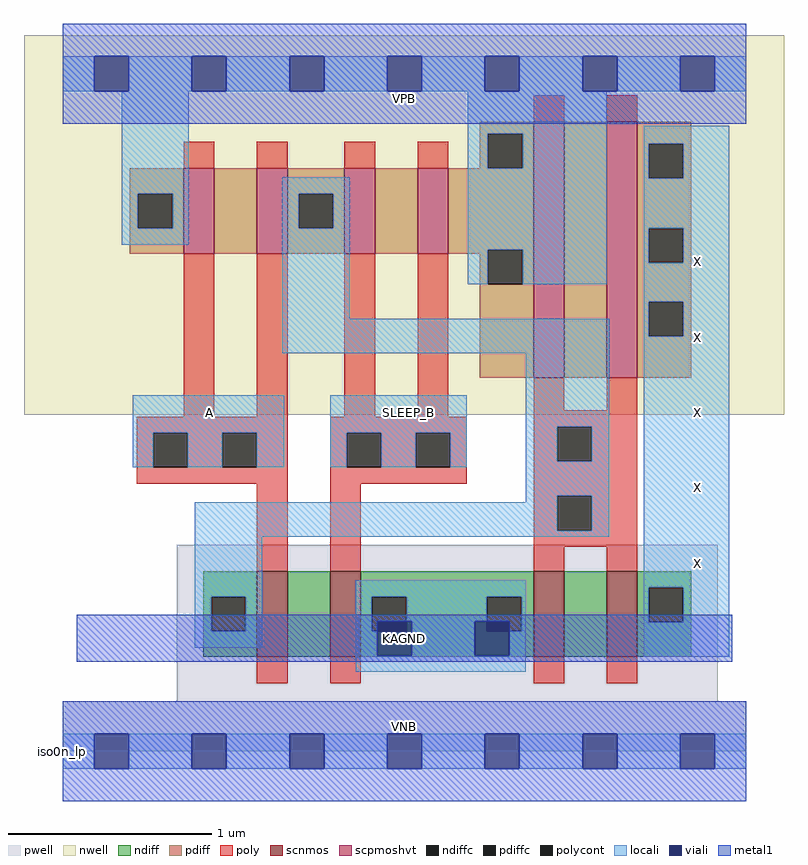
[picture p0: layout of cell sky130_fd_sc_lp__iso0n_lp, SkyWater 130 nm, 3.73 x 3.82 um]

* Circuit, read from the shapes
.subckt sky130_fd_sc_lp__iso0n_lp A KAGND SLEEP_B VGND VNB VPB VPWR X
XM1 n1 A n2 VNB sky130_fd_pr__nfet_01v8 w=0.42 l=0.15
XM2 KAGND SLEEP_B n1 VNB sky130_fd_pr__nfet_01v8 w=0.42 l=0.15
XM3 n3 n2 KAGND VNB sky130_fd_pr__nfet_01v8 w=0.42 l=0.15
XM4 X n2 n3 VNB sky130_fd_pr__nfet_01v8 w=0.42 l=0.15
XM5 n4 A VPWR VPB sky130_fd_pr__pfet_01v8_hvt w=0.42 l=0.15
XM6 n2 A n4 VPB sky130_fd_pr__pfet_01v8_hvt w=0.42 l=0.15
XM7 n5 SLEEP_B n2 VPB sky130_fd_pr__pfet_01v8_hvt w=0.42 l=0.15
XM8 VPWR SLEEP_B n5 VPB sky130_fd_pr__pfet_01v8_hvt w=0.42 l=0.15
XM9 n6 n2 VPWR VPB sky130_fd_pr__pfet_01v8_hvt w=1.26 l=0.15
XM10 X n2 n6 VPB sky130_fd_pr__pfet_01v8_hvt w=1.26 l=0.15
.ends

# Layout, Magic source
magic
tech sky130A
magscale 1 2
<< nwell >>
rect -38 331 709 704
<< pwell >>
rect 112 49 644 203
rect 0 0 672 49
<< scnmos >>
rect 191 93 221 177
rect 263 93 293 177
rect 463 93 493 177
rect 535 93 565 177
<< scpmoshvt >>
rect 119 489 149 573
rect 191 489 221 573
rect 277 489 307 573
rect 349 489 379 573
rect 463 367 493 619
rect 535 367 565 619
<< ndiff >>
rect 138 152 191 177
rect 138 118 146 152
rect 180 118 191 152
rect 138 93 191 118
rect 221 93 263 177
rect 293 152 463 177
rect 293 118 304 152
rect 338 118 417 152
rect 451 118 463 152
rect 293 93 463 118
rect 493 93 535 177
rect 565 161 618 177
rect 565 127 576 161
rect 610 127 618 161
rect 565 93 618 127
<< pdiff >>
rect 410 607 463 619
rect 410 573 418 607
rect 452 573 463 607
rect 66 548 119 573
rect 66 514 74 548
rect 108 514 119 548
rect 66 489 119 514
rect 149 489 191 573
rect 221 548 277 573
rect 221 514 232 548
rect 266 514 277 548
rect 221 489 277 514
rect 307 489 349 573
rect 379 493 463 573
rect 379 489 418 493
rect 410 459 418 489
rect 452 459 463 493
rect 410 367 463 459
rect 493 367 535 619
rect 565 597 618 619
rect 565 563 576 597
rect 610 563 618 597
rect 565 514 618 563
rect 565 480 576 514
rect 610 480 618 514
rect 565 442 618 480
rect 565 408 576 442
rect 610 408 618 442
rect 565 367 618 408
<< ndiffc >>
rect 146 118 180 152
rect 304 118 338 152
rect 417 118 451 152
rect 576 127 610 161
<< pdiffc >>
rect 418 573 452 607
rect 74 514 108 548
rect 232 514 266 548
rect 418 459 452 493
rect 576 563 610 597
rect 576 480 610 514
rect 576 408 610 442
<< poly >>
rect 463 619 493 645
rect 535 619 565 645
rect 119 573 149 599
rect 191 573 221 599
rect 277 573 307 599
rect 349 573 379 599
rect 119 329 149 489
rect 191 329 221 489
rect 277 329 307 489
rect 349 329 379 489
rect 463 335 493 367
rect 535 335 565 367
rect 73 313 221 329
rect 73 279 89 313
rect 123 279 157 313
rect 191 279 221 313
rect 73 263 221 279
rect 191 177 221 263
rect 263 313 397 329
rect 263 279 279 313
rect 313 279 347 313
rect 381 279 397 313
rect 263 263 397 279
rect 463 319 565 335
rect 463 285 486 319
rect 520 285 565 319
rect 263 177 293 263
rect 463 251 565 285
rect 463 217 486 251
rect 520 217 565 251
rect 463 201 565 217
rect 463 177 493 201
rect 535 177 565 201
rect 191 67 221 93
rect 263 67 293 93
rect 463 67 493 93
rect 535 67 565 93
<< polycont >>
rect 89 279 123 313
rect 157 279 191 313
rect 279 279 313 313
rect 347 279 381 313
rect 486 285 520 319
rect 486 217 520 251
<< locali >>
rect 0 649 31 683
rect 65 649 127 683
rect 161 649 223 683
rect 257 649 319 683
rect 353 649 415 683
rect 449 649 511 683
rect 545 649 607 683
rect 641 649 672 683
rect 58 548 124 649
rect 398 607 535 649
rect 398 573 418 607
rect 452 573 535 607
rect 58 514 74 548
rect 108 514 124 548
rect 58 498 124 514
rect 216 548 282 564
rect 216 514 232 548
rect 266 514 282 548
rect 216 425 282 514
rect 398 493 535 573
rect 398 459 418 493
rect 452 459 535 493
rect 571 597 655 615
rect 571 563 576 597
rect 610 563 655 597
rect 571 514 655 563
rect 571 480 576 514
rect 610 480 655 514
rect 571 442 655 480
rect 216 391 537 425
rect 69 313 218 350
rect 69 279 89 313
rect 123 279 157 313
rect 191 279 218 313
rect 263 313 397 350
rect 263 279 279 313
rect 313 279 347 313
rect 381 279 397 313
rect 455 319 537 391
rect 455 285 486 319
rect 520 285 537 319
rect 455 251 537 285
rect 455 245 486 251
rect 130 217 486 245
rect 520 217 537 251
rect 130 211 537 217
rect 571 408 576 442
rect 610 408 655 442
rect 130 152 196 211
rect 130 118 146 152
rect 180 118 196 152
rect 130 102 196 118
rect 288 152 455 168
rect 288 118 304 152
rect 338 128 417 152
rect 288 94 309 118
rect 343 94 405 128
rect 451 118 455 152
rect 439 94 455 118
rect 288 78 455 94
rect 571 161 655 408
rect 571 127 576 161
rect 610 127 655 161
rect 571 93 655 127
rect 0 -17 31 17
rect 65 -17 127 17
rect 161 -17 223 17
rect 257 -17 319 17
rect 353 -17 415 17
rect 449 -17 511 17
rect 545 -17 607 17
rect 641 -17 672 17
<< viali >>
rect 31 649 65 683
rect 127 649 161 683
rect 223 649 257 683
rect 319 649 353 683
rect 415 649 449 683
rect 511 649 545 683
rect 607 649 641 683
rect 309 118 338 128
rect 338 118 343 128
rect 309 94 343 118
rect 405 118 417 128
rect 417 118 439 128
rect 405 94 439 118
rect 31 -17 65 17
rect 127 -17 161 17
rect 223 -17 257 17
rect 319 -17 353 17
rect 415 -17 449 17
rect 511 -17 545 17
rect 607 -17 641 17
<< metal1 >>
rect 0 683 672 715
rect 0 649 31 683
rect 65 649 127 683
rect 161 649 223 683
rect 257 649 319 683
rect 353 649 415 683
rect 449 649 511 683
rect 545 649 607 683
rect 641 649 672 683
rect 0 617 672 649
rect 14 128 658 134
rect 14 94 309 128
rect 343 94 405 128
rect 439 94 658 128
rect 14 88 658 94
rect 0 17 672 49
rect 0 -17 31 17
rect 65 -17 127 17
rect 161 -17 223 17
rect 257 -17 319 17
rect 353 -17 415 17
rect 449 -17 511 17
rect 545 -17 607 17
rect 641 -17 672 17
rect 0 -49 672 -17
<< labels >>
flabel locali s 607 168 641 202 0 FreeSans 200 0 0 0 X
port 8 nsew signal output
flabel locali s 607 464 641 498 0 FreeSans 200 0 0 0 X
port 8 nsew signal output
flabel locali s 607 390 641 424 0 FreeSans 200 0 0 0 X
port 8 nsew signal output
flabel locali s 607 242 641 276 0 FreeSans 200 0 0 0 X
port 8 nsew signal output
flabel locali s 323 316 357 350 0 FreeSans 200 0 0 0 SLEEP_B
port 3 nsew signal input
flabel locali s 607 316 641 350 0 FreeSans 200 0 0 0 X
port 8 nsew signal output
flabel locali s 127 316 161 350 0 FreeSans 200 0 0 0 A
port 1 nsew signal input
flabel pwell s 0 0 672 49 0 FreeSans 200 0 0 0 VNB
port 5 nsew ground bidirectional
flabel nwell s 0 617 672 666 0 FreeSans 200 0 0 0 VPB
port 6 nsew power bidirectional
rlabel comment s 0 0 0 0 4 iso0n_lp
flabel metal1 s 0 617 672 666 0 FreeSans 200 0 0 0 VPWR
port 7 nsew power bidirectional
flabel metal1 s 0 0 672 49 0 FreeSans 200 0 0 0 VGND
port 4 nsew ground bidirectional
flabel metal1 s 14 88 658 134 0 FreeSans 340 0 0 0 KAGND
port 2 nsew ground input
<< properties >>
string LEFsite unit
string LEFclass CORE
string FIXED_BBOX 0 0 672 666
string GDS_FILE $PDKPATH/libs.ref/sky130_fd_sc_lp/gds/sky130_fd_sc_lp.gds
string LEFsymmetry X Y R90
string GDS_END 909650
string GDS_START 904154
<< end >>
